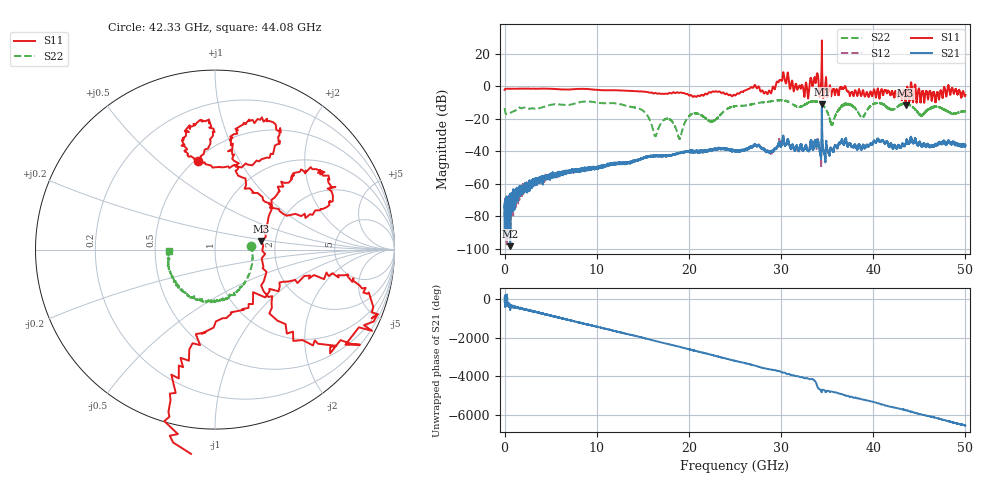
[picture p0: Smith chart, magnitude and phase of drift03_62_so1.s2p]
!Created with skrf (http://scikit-rf.org).
# Hz S RI R 50.0
!freq ReS11 ImS11 ReS21 ImS21 ReS12 ImS12 ReS22 ImS22
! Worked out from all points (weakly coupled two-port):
!   10000 points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, 5.3 MHz to 50 GHz, reference 50 ohm
!   highest |S21| = -10.72 dB at 34.43 GHz (marker M1); lowest = -98.4 dB at 610.3 MHz (marker M2)
!   lowest |S11| = -11.6 dB at 43.51 GHz (marker M3), VSWR 1.71, Z = 84.2 + j8.77 ohm
!   |S11| at or under -10 dB: 43.48789 GHz to 43.54651 GHz (58.62 MHz wide, 0.135 % of centre); 44.70942 GHz to 44.71036 GHz (938.2 kHz wide, 0.0021 % of centre); 45.53408 GHz to 45.53858 GHz (4.504 MHz wide, 0.00989 % of centre)
!   |S22| runs from -32.4 to -8.4 dB; largest |S21 - S12| = 0.084
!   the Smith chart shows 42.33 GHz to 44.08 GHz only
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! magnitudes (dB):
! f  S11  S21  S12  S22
! 5.3 MHz  -2.1  -72.6  -71.2  -13.3
! 610.3 MHz  -1.4  -98.4  -76.7  -16.2
! 3.19 GHz  -1.4  -59.1  -60.4  -13.6
! 8.34 GHz  -1.5  -50.8  -51.7  -9.5
! 14.57 GHz  -3.1  -45.4  -45.3  -13.6
! 16.67 GHz  -4.4  -43.0  -42.8  -26.3
! 17.78 GHz  -4.3  -42.7  -42.4  -20.0
! 19 GHz  -3.9  -40.9  -41.0  -32.3
! 20.3 GHz  -5.6  -39.4  -39.6  -17.1
! 22.56 GHz  -3.1  -39.4  -38.8  -21.6
! 25.01 GHz  -5.5  -39.7  -39.8  -12.1
! 30.14 GHz  4.4  -33.6  -34.0  -8.5
! 33.34 GHz  2.6  -34.7  -35.1  -9.4
! 34.43 GHz  28.3  -10.7  -12.6  -10.8
! 35.52 GHz  -3.6  -38.6  -38.9  -23.4
! 36.95 GHz  0.2  -33.3  -33.2  -10.9
! 38.78 GHz  -4.8  -38.0  -37.9  -19.2
! 40.17 GHz  -3.2  -34.1  -34.1  -10.5
! 41.67 GHz  -2.8  -37.0  -36.7  -13.4
! 43.51 GHz  -11.6  -35.3  -35.4  -10.8
! 45.19 GHz  -7.2  -36.3  -36.2  -17.7
! 50 GHz  -5.2  -36.0  -36.1  -15.6
